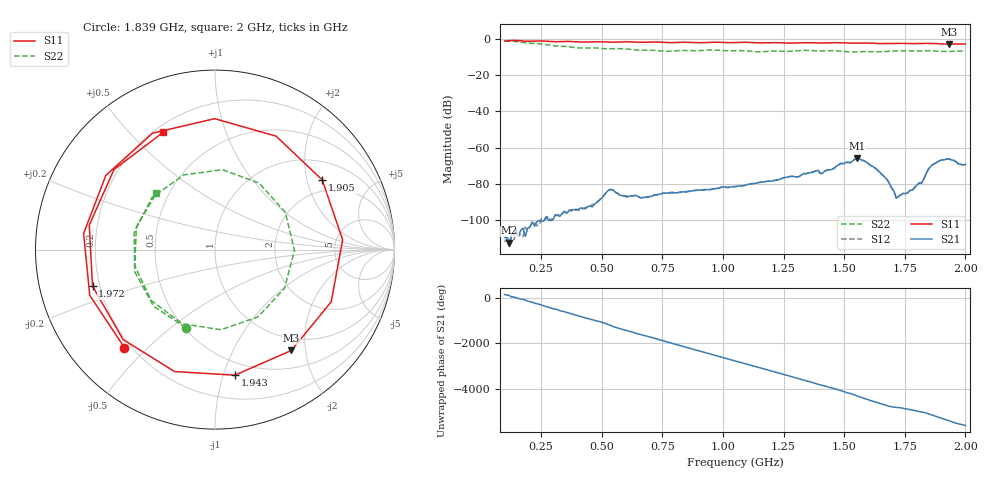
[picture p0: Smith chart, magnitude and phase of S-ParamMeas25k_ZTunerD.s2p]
!Keysight Technologies,N5242B,MY48420967,A.15.65.19
!Date: Monday, December 19, 2022 09:41:41
!Correction: S11(C  2-Port  )
!S21(C  2-Port  )
!S12(C  2-Port  )
!S22(C  2-Port  )
!S2P File: Measurements: S11, S21, S12, S22:
# Hz S  dB  R 50
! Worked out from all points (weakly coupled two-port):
!   201 points, 100 MHz to 2 GHz, reference 50 ohm
!   highest |S21| = -66.01 dB at 1.554 GHz (marker M1); lowest = -112.4 dB at 119 MHz (marker M2)
!   lowest |S11| = -3.0 dB at 1.933 GHz (marker M3), VSWR 5.78, Z = 38.9 - j87 ohm
!   |S11| at or under -10 dB: nowhere
!   |S22| runs from -7.3 to -1.3 dB; largest |S21 - S12| = 4.6e-06
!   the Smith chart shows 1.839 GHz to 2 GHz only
!   S11 on the Smith chart (normalised r, x): 1.839 GHz: 0.17, -0.43; 1.905 GHz: 1.58, +2.48; 1.943 GHz: 0.39, -1.09; 1.972 GHz: 0.17, -0.14; 2 GHz: 0.23, +0.63
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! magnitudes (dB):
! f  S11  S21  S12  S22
! 100 MHz  -1.3  -109.6  -112.0  -1.3
! 119 MHz  -1.0  -112.4  -114.4  -1.3
! 423 MHz  -1.9  -93.5  -93.9  -5.2
! 736.5 MHz  -1.9  -85.9  -85.6  -6.7
! 1.05 GHz  -2.1  -81.6  -81.6  -6.7
! 1.202 GHz  -2.2  -78.5  -78.5  -6.8
! 1.373 GHz  -2.3  -73.5  -73.5  -6.7
! 1.392 GHz  -2.4  -72.6  -72.5  -6.8
! 1.411 GHz  -2.4  -74.2  -74.3  -6.8
! 1.487 GHz  -2.3  -68.7  -68.7  -6.9
! 1.525 GHz  -2.5  -68.4  -68.4  -7.3
! 1.554 GHz  -2.5  -66.0  -66.0  -7.2
! 1.629 GHz  -2.6  -71.5  -71.5  -7.2
! 1.687 GHz  -2.7  -79.8  -79.8  -6.9
! 1.819 GHz  -2.7  -79.5  -79.6  -6.7
! 1.839 GHz  -2.6  -74.3  -74.3  -6.7
! 1.857 GHz  -2.6  -70.3  -70.4  -6.7
! 1.905 GHz  -2.9  -66.8  -66.8  -7.0
! 1.933 GHz  -3.0  -66.4  -66.3  -7.1
! 1.943 GHz  -3.0  -66.8  -66.8  -7.0
! 1.972 GHz  -2.9  -69.1  -69.1  -6.8
! 2 GHz  -2.9  -69.3  -69.4  -6.9
